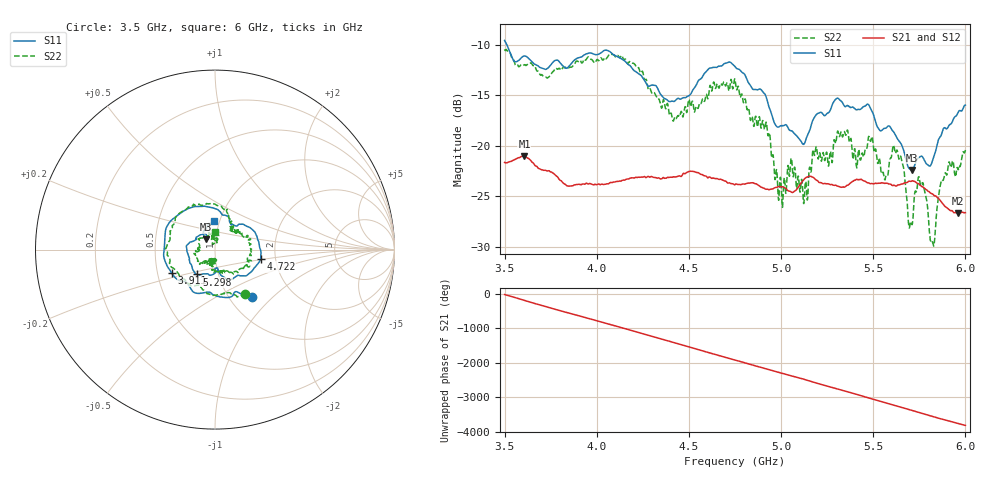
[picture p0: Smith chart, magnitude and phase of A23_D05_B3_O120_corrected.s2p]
! Created with skrf 1.9.0 (http://scikit-rf.org).
# Hz S RI R 50.0
!freq ReS11 ImS11 ReS21 ImS21 ReS12 ImS12 ReS22 ImS22
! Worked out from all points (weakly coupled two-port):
!   1601 points, 3.5 GHz to 6 GHz, reference 50 ohm
!   highest |S21| = -21.02 dB at 3.608 GHz (marker M1); lowest = -26.7 dB at 5.958 GHz (marker M2)
!   lowest |S11| = -22.4 dB at 5.708 GHz (marker M3), VSWR 1.16, Z = 45 + j5.26 ohm
!   |S11| at or under -10 dB: 3.512 GHz to end of sweep
!   |S22| runs from -29.9 to -10.5 dB; largest |S21 - S12| = 0.00095
!   S11 on the Smith chart (normalised r, x): 3.5 GHz: 1.27, -0.75; 3.911 GHz: 0.59, -0.17; 4.722 GHz: 1.67, -0.18; 5.298 GHz: 0.79, -0.23; 6 GHz: 0.94, +0.31
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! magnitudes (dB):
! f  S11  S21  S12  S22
! 3.5 GHz  -9.6  -21.6  -21.6  -10.5
! 3.608 GHz  -11.1  -21.0  -21.0  -12.0
! 3.911 GHz  -11.2  -23.8  -23.8  -11.6
! 3.917 GHz  -11.2  -23.8  -23.8  -11.8
! 4.142 GHz  -11.5  -23.4  -23.4  -11.3
! 4.334 GHz  -14.5  -23.2  -23.1  -15.4
! 4.722 GHz  -11.7  -23.7  -23.7  -14.3
! 4.75 GHz  -12.2  -23.8  -23.8  -13.4
! 4.928 GHz  -15.7  -24.3  -24.3  -19.0
! 4.997 GHz  -18.0  -24.1  -24.0  -23.1
! 5.048 GHz  -18.5  -24.5  -24.5  -22.5
! 5.133 GHz  -19.5  -23.2  -23.1  -23.5
! 5.167 GHz  -17.7  -23.1  -23.0  -21.6
! 5.298 GHz  -15.4  -23.9  -23.9  -19.6
! 5.584 GHz  -18.0  -23.8  -23.7  -22.2
! 5.653 GHz  -19.9  -23.8  -23.7  -21.3
! 5.708 GHz  -22.4  -23.5  -23.4  -27.6
! 5.756 GHz  -21.1  -23.9  -23.9  -23.9
! 5.822 GHz  -21.5  -24.8  -24.7  -29.6
! 5.873 GHz  -18.7  -25.6  -25.6  -23.4
! 5.958 GHz  -16.8  -26.7  -26.6  -22.2
! 6 GHz  -16.0  -26.6  -26.6  -20.4
